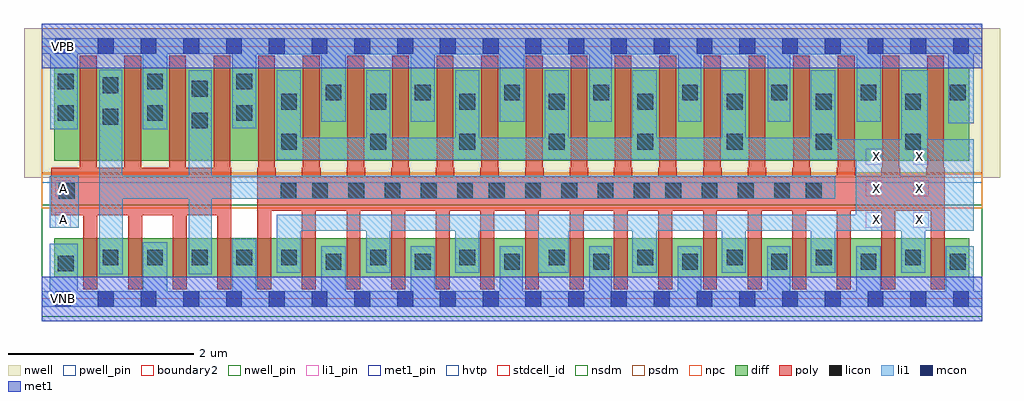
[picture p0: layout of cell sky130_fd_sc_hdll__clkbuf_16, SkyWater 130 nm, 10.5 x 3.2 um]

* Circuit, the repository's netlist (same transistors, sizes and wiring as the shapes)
* Copyright 2020 The SkyWater PDK Authors
*
* Licensed under the Apache License, Version 2.0 (the "License");
* you may not use this file except in compliance with the License.
* You may obtain a copy of the License at
*
*     https://www.apache.org/licenses/LICENSE-2.0
*
* Unless required by applicable law or agreed to in writing, software
* distributed under the License is distributed on an "AS IS" BASIS,
* WITHOUT WARRANTIES OR CONDITIONS OF ANY KIND, either express or implied.
* See the License for the specific language governing permissions and
* limitations under the License.
*
* SPDX-License-Identifier: Apache-2.0

.SUBCKT sky130_fd_sc_hdll__clkbuf_16 A VGND VNB VPB VPWR X
*.PININFO A:I VGND:I VNB:I VPB:I VPWR:I X:O
MMIN0 Ab A VGND VNB sky130_fd_pr__nfet_01v8 m=4 w=0.42U l=0.15U mult=1 sa=0.265
+ sb=0.265 sd=0.28 area=0.063 perim=1.14
MMIN1 X Ab VGND VNB sky130_fd_pr__nfet_01v8 m=16 w=0.42U l=0.15U mult=1 sa=0.265
+ sb=0.265 sd=0.28 area=0.063 perim=1.14
MMIP0 Ab A VPWR VPB sky130_fd_pr__pfet_01v8_hvt m=4 w=1.0U l=0.18U mult=1 sa=0.265
+ sb=0.265 sd=0.28 area=0.063 perim=1.14
MMIP1 X Ab VPWR VPB sky130_fd_pr__pfet_01v8_hvt m=16 w=1.0U l=0.18U mult=1 sa=0.265
+ sb=0.265 sd=0.28 area=0.063 perim=1.14
.ENDS sky130_fd_sc_hdll__clkbuf_16

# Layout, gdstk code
import gdstk
lib = gdstk.Library(unit=1e-6, precision=1e-09)
def R(c, l, rs):  # rectangles x0, y0, x1, y1
    for r in rs: c.add(gdstk.rectangle(r[:2], r[2:], *l))
def A(c, l, x, y, w, h, nx, ny, dx, dy):  # array of equal rectangles
    R(c, l, [(x+i*dx, y+j*dy, x+i*dx+w, y+j*dy+h) for i in range(nx) for j in range(ny)])
def P(c, l, *ps):  # polygons
    for p in ps: c.add(gdstk.Polygon(p, *l))
nwell_pin = (64, 16)
nwell = (64, 20)
diff = (65, 20)
poly = (66, 20)
licon = (66, 44)
li1_pin = (67, 16)
li1 = (67, 20)
mcon = (67, 44)
met1_pin = (68, 16)
met1 = (68, 20)
hvtp = (78, 44)
stdcell_id = (81, 4)
nsdm = (93, 44)
psdm = (94, 20)
npc = (95, 20)
pwell_pin = (122, 16)
boundary2 = (236, 0)

sky130_fd_sc_hdll__clkbu = lib.new_cell('sky130_fd_sc_hdll__clkbuf_16')
R(sky130_fd_sc_hdll__clkbu, nwell_pin, [(0.145,2.635,0.315,2.805), (0.145,2.635,0.315,2.805)])
R(sky130_fd_sc_hdll__clkbu, nwell, [(-0.19,1.305,10.31,2.91)])
R(sky130_fd_sc_hdll__clkbu, diff, [(0.135,0.235,9.98,0.655), (0.135,1.485,9.98,2.485)])
P(sky130_fd_sc_hdll__clkbu, poly, [(2.04,1.41),(2.03,1.41),(2.03,2.615),(1.85,2.615),(1.85,1.41),(1.55,1.41),(1.55,2.615),(1.37,2.615),(1.37,1.41),(1.07,1.41),(1.07,2.615),(0.89,2.615),(0.89,1.41),(0.59,1.41),(0.59,2.615),(0.41,2.615),(0.41,1.41),(0.105,1.41),(0.105,0.9),(0.45,0.9),(0.45,0.105),(0.6,0.105),(0.6,0.9),(0.93,0.9),(0.93,0.105),(1.08,0.105),(1.08,0.9),(1.41,0.9),(1.41,0.105),(1.56,0.105),(1.56,0.9),(1.89,0.9),(1.89,0.105),(2.04,0.105)],
  [(9.715,1.41),(9.705,1.41),(9.705,2.615),(9.525,2.615),(9.525,1.41),(9.515,1.41),(9.515,1.325),(9.235,1.325),(9.235,1.41),(9.225,1.41),(9.225,2.615),(9.045,2.615),(9.045,1.41),(9.035,1.41),(9.035,1.325),(8.755,1.325),(8.755,1.41),(8.745,1.41),(8.745,2.615),(8.565,2.615),(8.565,1.41),(8.555,1.41),(8.555,1.325),(8.275,1.325),(8.275,1.41),(8.265,1.41),(8.265,2.615),(8.085,2.615),(8.085,1.41),(8.075,1.41),(8.075,1.325),(7.795,1.325),(7.795,1.41),(7.785,1.41),(7.785,2.615),(7.605,2.615),(7.605,1.41),(7.595,1.41),(7.595,1.325),(7.315,1.325),(7.315,1.41),(7.305,1.41),(7.305,2.615),(7.125,2.615),(7.125,1.41),(7.115,1.41),(7.115,1.325),(6.835,1.325),(6.835,1.41),(6.825,1.41),(6.825,2.615),(6.645,2.615),(6.645,1.41),(6.635,1.41),(6.635,1.325),(6.355,1.325),(6.355,1.41),(6.345,1.41),(6.345,2.615),(6.165,2.615),(6.165,1.41),(6.155,1.41),(6.155,1.325),(5.88,1.325),(5.88,1.41),(5.87,1.41),(5.87,2.615),(5.69,2.615),(5.69,1.41),(5.68,1.41),(5.68,1.325),(5.4,1.325),(5.4,1.41),(5.39,1.41),(5.39,2.615),(5.21,2.615),(5.21,1.41),(5.2,1.41),(5.2,1.325),(4.92,1.325),(4.92,1.41),(4.91,1.41),(4.91,2.615),(4.73,2.615),(4.73,1.41),(4.72,1.41),(4.72,1.325),(4.44,1.325),(4.44,1.41),(4.43,1.41),(4.43,2.615),(4.25,2.615),(4.25,1.41),(4.24,1.41),(4.24,1.325),(3.96,1.325),(3.96,1.41),(3.95,1.41),(3.95,2.615),(3.77,2.615),(3.77,1.41),(3.76,1.41),(3.76,1.325),(3.48,1.325),(3.48,1.41),(3.47,1.41),(3.47,2.615),(3.29,2.615),(3.29,1.41),(3.28,1.41),(3.28,1.325),(3,1.325),(3,1.41),(2.99,1.41),(2.99,2.615),(2.81,2.615),(2.81,1.41),(2.8,1.41),(2.8,1.325),(2.52,1.325),(2.52,1.41),(2.51,1.41),(2.51,2.615),(2.33,2.615),(2.33,1.41),(2.32,1.41),(2.32,0.105),(2.47,0.105),(2.47,0.95),(2.8,0.95),(2.8,0.105),(2.95,0.105),(2.95,0.95),(3.28,0.95),(3.28,0.105),(3.43,0.105),(3.43,0.95),(3.76,0.95),(3.76,0.105),(3.91,0.105),(3.91,0.95),(4.24,0.95),(4.24,0.105),(4.39,0.105),(4.39,0.95),(4.72,0.95),(4.72,0.105),(4.87,0.105),(4.87,0.95),(5.2,0.95),(5.2,0.105),(5.35,0.105),(5.35,0.95),(5.68,0.95),(5.68,0.105),(5.83,0.105),(5.83,0.95),(6.155,0.95),(6.155,0.105),(6.305,0.105),(6.305,0.95),(6.635,0.95),(6.635,0.105),(6.785,0.105),(6.785,0.95),(7.115,0.95),(7.115,0.105),(7.265,0.105),(7.265,0.95),(7.595,0.95),(7.595,0.105),(7.745,0.105),(7.745,0.95),(8.075,0.95),(8.075,0.105),(8.225,0.105),(8.225,0.95),(8.555,0.95),(8.555,0.105),(8.705,0.105),(8.705,0.95),(9.035,0.95),(9.035,0.105),(9.185,0.105),(9.185,0.95),(9.565,0.95),(9.565,0.105),(9.715,0.105)])
A(sky130_fd_sc_hdll__clkbu, licon, 3.055, 0.315, 0.17, 0.17, 4, 2, 0.96, 1.82)
A(sky130_fd_sc_hdll__clkbu, licon, 6.89, 0.315, 0.17, 0.17, 4, 2, 0.96, 1.82)
A(sky130_fd_sc_hdll__clkbu, licon, 0.655, 0.36, 0.17, 0.17, 5, 1, 0.48, 0)
A(sky130_fd_sc_hdll__clkbu, licon, 3.535, 0.36, 0.17, 0.17, 3, 1, 0.96, 0)
A(sky130_fd_sc_hdll__clkbu, licon, 6.41, 0.36, 0.17, 0.17, 4, 2, 0.96, 1.245)
A(sky130_fd_sc_hdll__clkbu, licon, 2.91, 1.075, 0.17, 0.17, 5, 1, 0.39, 0)
A(sky130_fd_sc_hdll__clkbu, licon, 4.81, 1.075, 0.17, 0.17, 5, 1, 0.39, 0)
A(sky130_fd_sc_hdll__clkbu, licon, 6.71, 1.075, 0.17, 0.17, 4, 1, 0.39, 0)
A(sky130_fd_sc_hdll__clkbu, licon, 2.575, 1.605, 0.17, 0.17, 4, 2, 0.96, 0.43)
A(sky130_fd_sc_hdll__clkbu, licon, 0.175, 1.915, 0.17, 0.17, 3, 2, 0.96, 0.34)
A(sky130_fd_sc_hdll__clkbu, licon, 6.41, 2.035, 0.17, 0.17, 4, 1, 0.96, 0)
R(sky130_fd_sc_hdll__clkbu, licon, [(0.175,0.295,0.345,0.465), (0.185,1.075,0.355,1.245), (2.57,1.075,2.74,1.245), (8.22,1.075,8.39,1.245), (1.615,1.835,1.785,2.005), (0.655,1.875,0.825,2.045), (1.615,2.175,1.785,2.345), (0.655,2.215,0.825,2.385)])
A(sky130_fd_sc_hdll__clkbu, li1_pin, 8.865, 0.765, 0.17, 0.17, 1, 3, 0, 0.34)
A(sky130_fd_sc_hdll__clkbu, li1_pin, 9.375, 0.765, 0.17, 0.17, 1, 3, 0, 0.34)
R(sky130_fd_sc_hdll__clkbu, li1_pin, [(0.145,0.765,0.315,0.935), (0.145,1.105,0.315,1.275)])
R(sky130_fd_sc_hdll__clkbu, li1, [(0.085,0.765,0.4,1.325)])
P(sky130_fd_sc_hdll__clkbu, li1, [(10.12,2.805),(0,2.805),(0,2.635),(0.095,2.635),(0.095,1.825),(0.39,1.825),(0.39,2.635),(1.09,2.635),(1.09,1.825),(1.35,1.825),(1.35,2.635),(2.05,2.635),(2.05,1.835),(2.31,1.835),(2.31,2.63),(3.01,2.63),(3.01,1.905),(3.27,1.905),(3.27,2.63),(3.97,2.63),(3.97,1.905),(4.23,1.905),(4.23,2.63),(4.93,2.63),(4.93,1.905),(5.19,1.905),(5.19,2.63),(5.89,2.63),(5.89,1.905),(6.135,1.905),(6.135,2.63),(6.85,2.63),(6.85,1.905),(7.095,1.905),(7.095,2.63),(7.81,2.63),(7.81,1.905),(8.055,1.905),(8.055,2.63),(8.77,2.63),(8.77,1.905),(9.025,1.905),(9.025,2.635),(9.755,2.635),(9.755,1.89),(10.025,1.89),(10.025,2.635),(10.12,2.635)],
  [(10.025,1.72),(9.535,1.72),(9.535,2.46),(9.245,2.46),(9.245,1.72),(8.535,1.72),(8.535,2.46),(8.275,2.46),(8.275,1.735),(7.575,1.735),(7.575,2.46),(7.315,2.46),(7.315,1.735),(6.615,1.735),(6.615,2.46),(6.355,2.46),(6.355,1.735),(5.67,1.735),(5.67,2.46),(5.41,2.46),(5.41,1.735),(4.71,1.735),(4.71,2.46),(4.45,2.46),(4.45,1.735),(3.75,1.735),(3.75,2.46),(3.49,2.46),(3.49,1.735),(2.79,1.735),(2.79,2.46),(2.53,2.46),(2.53,1.495),(8.76,1.495),(8.76,0.905),(2.53,0.905),(2.53,0.28),(2.79,0.28),(2.79,0.735),(3.49,0.735),(3.49,0.28),(3.75,0.28),(3.75,0.735),(4.45,0.735),(4.45,0.28),(4.71,0.28),(4.71,0.735),(5.345,0.735),(5.345,0.28),(5.67,0.28),(5.67,0.735),(6.355,0.735),(6.355,0.28),(6.615,0.28),(6.615,0.735),(7.315,0.735),(7.315,0.28),(7.575,0.28),(7.575,0.735),(8.275,0.735),(8.275,0.28),(8.535,0.28),(8.535,0.735),(9.245,0.735),(9.245,0.28),(9.505,0.28),(9.505,0.735),(10.025,0.735)],
  [(10.12,0.085),(10.025,0.085),(10.025,0.565),(9.725,0.565),(9.725,0.085),(9.025,0.085),(9.025,0.565),(8.765,0.565),(8.765,0.085),(8.055,0.085),(8.055,0.565),(7.805,0.565),(7.805,0.085),(7.095,0.085),(7.095,0.565),(6.845,0.565),(6.845,0.085),(6.135,0.085),(6.135,0.565),(5.89,0.565),(5.89,0.085),(5.175,0.085),(5.175,0.565),(4.93,0.565),(4.93,0.085),(4.23,0.085),(4.23,0.565),(3.97,0.565),(3.97,0.085),(3.27,0.085),(3.27,0.565),(3.01,0.565),(3.01,0.085),(2.31,0.085),(2.31,0.645),(2.05,0.645),(2.05,0.085),(1.35,0.085),(1.35,0.61),(1.09,0.61),(1.09,0.085),(0.39,0.085),(0.39,0.595),(0.085,0.595),(0.085,0.085),(0,0.085),(0,-0.085),(10.12,-0.085)],
  [(8.54,1.325),(1.83,1.325),(1.83,2.46),(1.58,2.46),(1.58,1.325),(0.865,1.325),(0.865,2.465),(0.62,2.465),(0.62,0.265),(0.87,0.265),(0.87,1.075),(1.58,1.075),(1.58,0.265),(1.83,0.265),(1.83,1.075),(8.54,1.075)])
A(sky130_fd_sc_hdll__clkbu, mcon, 0.145, -0.085, 0.17, 0.17, 22, 2, 0.46, 2.72)
R(sky130_fd_sc_hdll__clkbu, met1_pin, [(0.145,-0.085,0.315,0.085), (0.145,2.635,0.315,2.805)])
R(sky130_fd_sc_hdll__clkbu, met1, [(0,-0.24,10.12,0.24), (0,2.48,10.12,2.96)])
R(sky130_fd_sc_hdll__clkbu, hvtp, [(0,1.25,10.12,2.72)])
R(sky130_fd_sc_hdll__clkbu, stdcell_id, [(0,0,10.12,2.72)])
R(sky130_fd_sc_hdll__clkbu, nsdm, [(0,-0.19,10.12,1.015)])
R(sky130_fd_sc_hdll__clkbu, psdm, [(0,1.355,10.12,2.91)])
R(sky130_fd_sc_hdll__clkbu, npc, [(0,0.975,10.12,1.345)])
R(sky130_fd_sc_hdll__clkbu, pwell_pin, [(0.145,-0.085,0.315,0.085), (0.145,-0.085,0.315,0.085)])
R(sky130_fd_sc_hdll__clkbu, boundary2, [(0,0,10.12,2.72)])
sky130_fd_sc_hdll__clkbu.add(gdstk.Label('X', (8.98,1.53), layer=67, texttype=5))
sky130_fd_sc_hdll__clkbu.add(gdstk.Label('X', (9.44,1.53), layer=67, texttype=5))
sky130_fd_sc_hdll__clkbu.add(gdstk.Label('X', (9.44,1.19), layer=67, texttype=5))
sky130_fd_sc_hdll__clkbu.add(gdstk.Label('X', (8.98,1.19), layer=67, texttype=5))
sky130_fd_sc_hdll__clkbu.add(gdstk.Label('X', (8.98,0.85), layer=67, texttype=5))
sky130_fd_sc_hdll__clkbu.add(gdstk.Label('X', (9.44,0.85), layer=67, texttype=5))
sky130_fd_sc_hdll__clkbu.add(gdstk.Label('A', (0.23,0.85), layer=67, texttype=5))
sky130_fd_sc_hdll__clkbu.add(gdstk.Label('A', (0.23,1.19), layer=67, texttype=5))
sky130_fd_sc_hdll__clkbu.add(gdstk.Label('VNB', (0.23,0), layer=64, texttype=59))
sky130_fd_sc_hdll__clkbu.add(gdstk.Label('VNB', (0.23,0), layer=64, texttype=59))
sky130_fd_sc_hdll__clkbu.add(gdstk.Label('VPB', (0.23,2.72), layer=64, texttype=5))
sky130_fd_sc_hdll__clkbu.add(gdstk.Label('VPB', (0.23,2.72), layer=64, texttype=5))
sky130_fd_sc_hdll__clkbu.add(gdstk.Label('VGND', (0.23,0), layer=68, texttype=5))
sky130_fd_sc_hdll__clkbu.add(gdstk.Label('VPWR', (0.23,2.72), layer=68, texttype=5))
sky130_fd_sc_hdll__clkbu.add(gdstk.Label('clkbuf_16', (0,0), layer=83, texttype=44))

lib.write_gds('sky130_fd_sc_hdll__clkbuf_16.gds')
